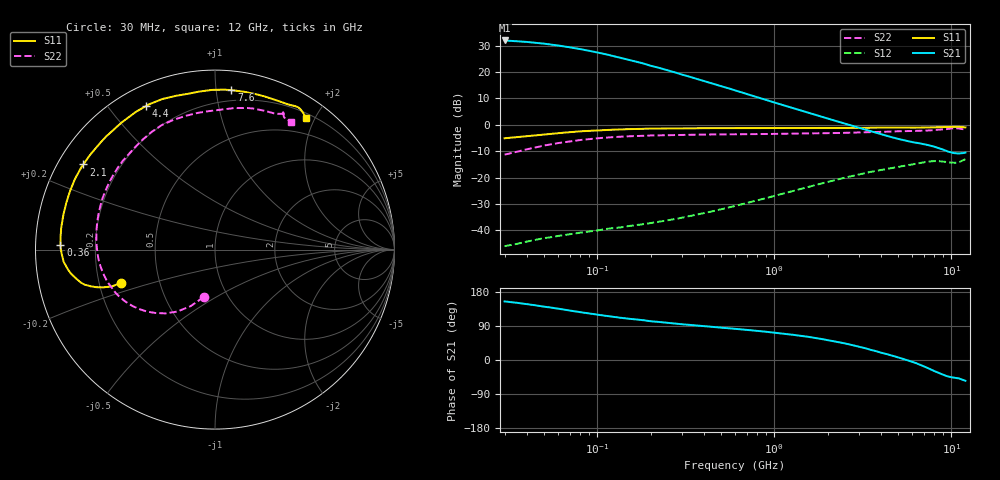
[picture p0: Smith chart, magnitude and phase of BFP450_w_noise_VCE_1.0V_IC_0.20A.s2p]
! (c) 2015  Infineon Technologies AG, Munich
! Infineon Technologies  Discrete & RF Semiconductors
! BFP450
! VCE =  1.0 V,  IC = 0.20 A
! Common Emitter S-Parameters:  Nov 2015
# GHz  S  MA  R  50
!  f  S11  S21  S12  S22
! GHz  MAG  ANG  MAG  ANG  MAG  ANG  MAG  ANG
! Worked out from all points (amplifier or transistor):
!   239 points, 30 MHz to 12 GHz, reference 50 ohm
!   highest |S21| = 32.0 dB at 30 MHz (marker M1)
!   |S21| within 3 dB of that: start of sweep to 76.07 MHz
!   unconditionally stable (mu >= 1): start of sweep to 78.26 MHz; 275.6 MHz to end of sweep
!   at 300 MHz: K = 1.02, MAG = 26.4 dB, |S12| = -35.2 dB
!   at 1.88 GHz: K = 1.20, MAG = 9.8 dB, |S12| = -22.1 dB
!   at 12 GHz: K = 1.14, MAG = -1.0 dB, |S12| = -13.0 dB
!   lowest NFmin = 3.03 dB at 450 MHz
!   S11 on the Smith chart (normalised r, x): 30 MHz: 0.29, -0.16; 360 MHz: 0.07, +0.01; 2.1 GHz: 0.07, +0.29; 4.4 GHz: 0.08, +0.63; 7.6 GHz: 0.13, +1.10; 12 GHz: 0.26, +1.88
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0.03  0.5554 -160.7  39.67 154.6  0.005 68.8  0.2721 -103.4
0.04  0.6073 -160.3  37.21 147.4  0.0061 65.0  0.3429 -113.3
0.05  0.6556 -161.3  34.54 140.8  0.0071 59.5  0.4039 -121.3
0.055  0.6761 -161.9  33.16 138.3  0.0074 59.1  0.4258 -124.7
0.07  0.7231 -163.6  29.43 130.3  0.0084 55.8  0.4853 -133.3
0.085  0.7598 -165.5  26.23 124.6  0.0092 53.9  0.5247 -139.9
0.11  0.795 -168.7  21.97 117.0  0.0105 52.2  0.5689 -148.1
0.13  0.8135 -170.5  19.23 112.4  0.0112 51.5  0.5905 -153.0
0.15  0.826 -172.2  17.07 108.8  0.012 51.7  0.6051 -156.8
0.2  0.8461 -175.4  13.16 102.3  0.0137 53.8  0.6266 -163.5
0.24  0.8517 -177.4  11.21 98.9  0.0151 55.2  0.6351 -167.2
0.3  0.8581 -179.8  8.967 94.4  0.0173 57.3  0.6442 -171.4
0.36  0.8612 178.3  7.514 91.3  0.0196 59.0  0.6498 -174.4
0.45  0.863 175.8  5.99 87.2  0.023 60.9  0.6547 -178.1
0.6  0.8655 172.4  4.472 82.1  0.0289 62.4  0.661 177.4
1  0.8665 164.9  2.643 72.2  0.0447 61.9  0.6714 168.7
1.64  0.8727 154.4  1.604 59.5  0.0694 56.2  0.6859 157.7
2.1  0.8736 147.1  1.254 50.9  0.0859 50.7  0.6947 150.1
4.4  0.8874 115.5  0.607 14.3  0.1469 22.9  0.742 119.3
4.5  0.8888 114.4  0.593 12.9  0.149 21.9  0.7449 118.3
7.6  0.8933 84.1  0.403 -24.4  0.2021 -12.0  0.7815 87.1
12  0.8921 55.4  0.297 -54.9  0.2228 -43.6  0.8286 59.1
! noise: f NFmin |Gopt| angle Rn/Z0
0.45  3.03  0.73  -171  0.08
0.9  3.05  0.75  -165  0.11
1.9  3.2  0.76  -148  0.3
2.4  3.28  0.75  -138  0.47
